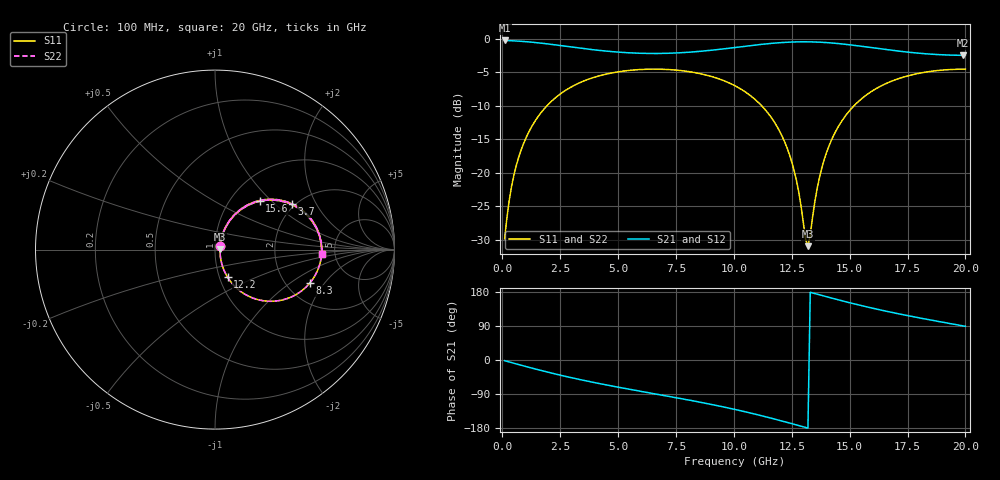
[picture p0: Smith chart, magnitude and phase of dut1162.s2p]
! Touchstone file exported from HFSS 2026.1.0
!  File:  C:/ffzhzh/LocalFiles/Ansys_Project_Files/temp_train_TSV_RDL_1162_1783312463_30076.aedt
!  Generated:  12:49:55 PM Jul  6, 2026
!  Design:  TSV_RDL
!  Project:  temp_train_TSV_RDL_1162_1783312463_30076
! Variables:
!  h_bsmrdl = 3.76um
!  h_ox = 20um
!  h_rdl = 5um
!  h_sub = 86.46um
!  h_tmrdl = 3.21um
!  h_tsv = 86.46um
!  h_via = 3um
!  l_bsmrdl = 563.52um
!  l_sub = 4330.98um
!  l_tmrdl = 534.17um
!  m_sub = 200um
!  pitch = 57.4um
!  r_tsv = 14.54um
!  s_tmrdl = 10um
!  w_bsmrdl = 10.18um
!  w_sub = 500um
!  w_tmrdl = 24.4um
!  x_tsv_center1 = 546.37um
!  x_tsv_center2 = 1120.07um
!  x_tsv_center3 = 1678.64um
!  x_tsv_center4 = 2252.34um
!  x_tsv_center5 = 2810.91um
!  x_tsv_center6 = 3384.61um
# GHz S MA R 50.000000
! Terminal data exported
! Port[1] = TM_RDL1_1_T1
! Port[2] = TM_RDL5_1_T1
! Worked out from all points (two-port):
!   200 points, 100 MHz to 20 GHz, reference 50 ohm
!   highest |S21| = -0.23 dB at 100 MHz (marker M1); lowest = -2.4 dB at 19.9 GHz (marker M2)
!   |S21| within 3 dB of the highest: start of sweep to end of sweep
!   lowest |S11| = -31.0 dB at 13.2 GHz (marker M3), VSWR 1.06, Z = 52.9 + j0.199 ohm
!   |S11| at or under -10 dB: start of sweep to 1.927 GHz; 11.2 GHz to 15.19 GHz (3.983 GHz wide, 30.2 % of centre)
!   |S22| runs from -31.0 to -4.5 dB; largest |S21 - S12| = 1.7e-14
!   S11 on the Smith chart (normalised r, x): 100 MHz: 1.05, +0.04; 3.7 GHz: 1.92, +1.30; 8.3 GHz: 2.68, -1.45; 12.2 GHz: 1.09, -0.35; 15.6 GHz: 1.36, +0.85; 20 GHz: 3.91, -0.26
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0.1  0.03209 34.6  0.974 -1.8  0.974 -1.8  0.03209 34.6
! Gamma 0 0 0 0
! Port Impedance 50 0 50 0
0.3  0.06227 58.9  0.9713 -5.2  0.9713 -5.2  0.06227 58.9
0.5  0.0958 64.1  0.9674 -8.6  0.9674 -8.6  0.0958 64.1
1.1  0.1944 62.7  0.9516 -18.5  0.9516 -18.5  0.1944 62.7
2.1  0.3391 50.9  0.9115 -34.1  0.9115 -34.1  0.3391 50.9
3.5  0.4833 33.2  0.8475 -53.6  0.8475 -53.6  0.4833 33.2
3.7  0.4984 30.8  0.8393 -56.1  0.8393 -56.1  0.4984 30.8
6.8  0.5942 -3.1  0.779 -91.6  0.779 -91.6  0.5942 -3.1
8.3  0.5608 -19.3  0.8012 -108.5  0.8012 -108.5  0.5608 -19.3
10.1  0.4419 -40.5  0.8648 -131.2  0.8648 -131.2  0.442 -40.5
11.3  0.3035 -55.8  0.9147 -148.6  0.9147 -148.6  0.3035 -55.8
12.2  0.1693 -65.5  0.9425 -163.0  0.9425 -163.0  0.1693 -65.5
12.7  0.08816 -64.5  0.9505 -171.3  0.9505 -171.3  0.08816 -64.5
13.2  0.02829 3.8  0.9516 -179.6  0.9516 -179.6  0.02826 3.8
13.4  0.04653 48.2  0.9501 177.0  0.9501 177.0  0.04651 48.2
13.7  0.09264 62.8  0.9458 172.0  0.9458 172.0  0.09264 62.9
14.2  0.173 63.2  0.9336 163.8  0.9336 163.8  0.173 63.2
15.6  0.3672 47.2  0.8772 142.2  0.8772 142.2  0.3672 47.2
16.7  0.4746 33.7  0.8278 127.2  0.8278 127.2  0.4747 33.7
18.3  0.5655 15.6  0.774 107.8  0.774 107.8  0.5655 15.6
19.9  0.5945 -1.1  0.7544 90.0  0.7544 90.0  0.5945 -1.1
20  0.5945 -2.1  0.7544 88.9  0.7544 88.9  0.5945 -2.1
